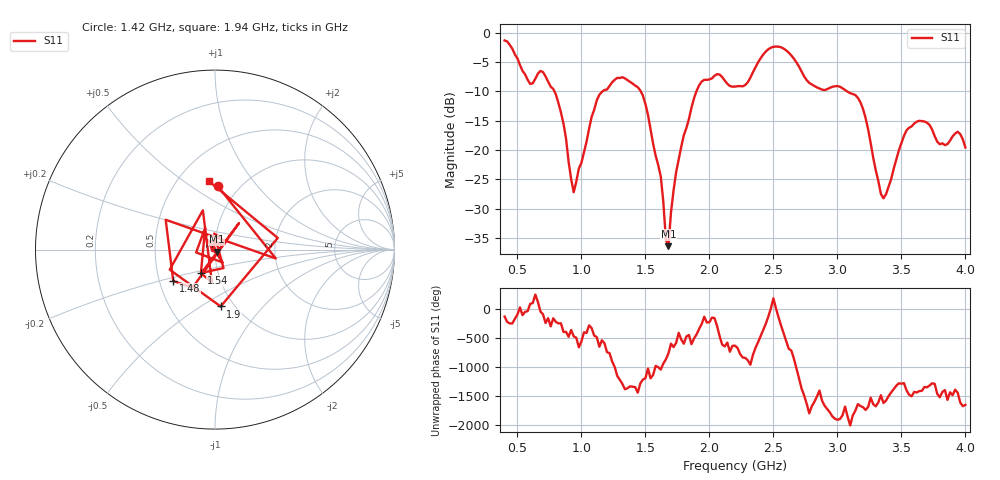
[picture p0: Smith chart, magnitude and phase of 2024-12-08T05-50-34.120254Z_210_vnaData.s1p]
!Created with skrf (http://scikit-rf.org).
# Hz S RI R 50.0
!freq ReS11 ImS11
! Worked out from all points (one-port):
!   181 points, 400 MHz to 4 GHz, reference 50 ohm
!   lowest |S11| = -36.4 dB at 1.68 GHz (marker M1), VSWR 1.03, Z = 50.9 - j1.22 ohm
!   |S11| at or under -10 dB: 788.6 MHz to 1.167 GHz (378.4 MHz wide, 38.7 % of centre); 1.463 GHz to 1.899 GHz (436 MHz wide, 25.9 % of centre); 3.074 GHz to end of sweep
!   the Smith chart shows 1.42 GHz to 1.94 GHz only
!   S11 on the Smith chart (normalised r, x): 1.42 GHz: 0.80, +0.65; 1.48 GHz: 0.59, -0.23; 1.54 GHz: 0.83, -0.22; 1.9 GHz: 0.87, -0.61; 1.94 GHz: 0.70, +0.63
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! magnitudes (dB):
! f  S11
! 400 MHz  -1.3
! 600 MHz  -8.8
! 700 MHz  -6.7
! 860 MHz  -15.5
! 940 MHz  -27.2
! 1.12 GHz  -11.6
! 1.3 GHz  -7.7
! 1.42 GHz  -9.0
! 1.48 GHz  -10.7
! 1.54 GHz  -16.5
! 1.62 GHz  -24.5
! 1.66 GHz  -35.3
! 1.68 GHz  -36.4
! 1.76 GHz  -21.6
! 1.9 GHz  -9.9
! 1.94 GHz  -8.3
! 2.2 GHz  -9.2
! 2.48 GHz  -2.6
! 2.66 GHz  -4.4
! 2.8 GHz  -8.8
! 3.1 GHz  -10.3
! 3.2 GHz  -13.0
! 3.36 GHz  -28.2
! 3.56 GHz  -16.2
! 3.7 GHz  -15.4
! 3.84 GHz  -19.2
! 3.94 GHz  -16.9
! 4 GHz  -19.6
